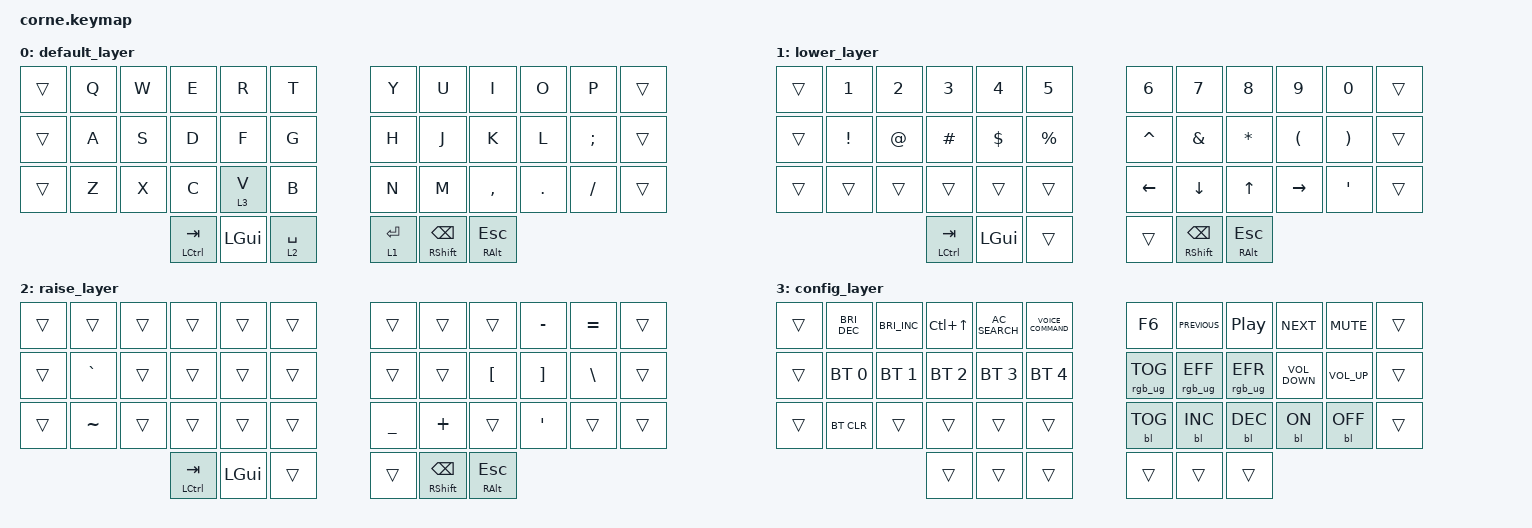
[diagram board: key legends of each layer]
/*
 * Copyright (c) 2020 The ZMK Contributors
 *
 * SPDX-License-Identifier: MIT
 */

#include <behaviors.dtsi>
#include <dt-bindings/zmk/bt.h>
#include <dt-bindings/zmk/keys.h>
#include <dt-bindings/zmk/rgb.h>

/ {
    combos {
        compatible = "zmk,combos";

        combo_capslock {
            timeout-ms = <50>;

            // keys = <ZMK_KEY_LCTRL ZMK_KEY_LALT ZMK_KEY_C>;
            // action = <ZMK_MOD_LCTL ZMK_MOD_LALT ZMK_MOD_C>;
            // key-positions = <1 2>; // Q and W cuz index 0 is empty

            key-positions = <2 9>; // W and O
            bindings = <&kp CAPSLOCK>;
        };

        config_layer_combo {
            timeout-ms = <50>;
            key-positions = <36 37 38>; // S and J
            bindings = <&mo 3>; // momentary activation of layer
            //bindings = <&tog 3>; // layer "id", permanent activation
        };
    };

    keymap {
        compatible = "zmk,keymap";

        default_layer {
            // -----------------------------------------------------------------------------------------
            // |     |  Q  |  W  |  E  |  R  |  T  |        |  Y  |  U  |  I  |  O  |  P  |      |
            // |     |  A  |  S  |  D  |  F  |  G  |        |  H  |  J  |  K  |  L  |  ;: |      |
            // |     |  Z  |  X  |  C  |  V  |  B  |        |  N  |  M  |  ,< |  .> |  /? |      |
            //       | LCTRL/TAB | GUI | LWR/SPC |          | RSE/ENT | RSHFT/BSPC | RALT/ESC |
            //                  (command)                                            (option)

            bindings = <
&trans  &kp Q  &kp W  &kp E          &kp R     &kp T          &kp Y      &kp U           &kp I         &kp O    &kp P     &trans
&trans  &kp A  &kp S  &kp D          &kp F     &kp G          &kp H      &kp J           &kp K         &kp L    &kp SEMI  &trans
&trans  &kp Z  &kp X  &kp C          &lt 3 V   &kp B          &kp N      &kp M           &kp COMMA     &kp DOT  &kp FSLH  &trans
                      &mt LCTRL TAB  &kp LGUI  &lt 2 SPACE    &lt 1 RET  &mt RSHFT BSPC  &mt RALT ESC
            >;
        };

        lower_layer {
            // -----------------------------------------------------------------------------------------
            // |     |  1  |  2  |  3  |  4  |  5  |        |  6  |  7  |  8  |  9  |  0  |      |
            // |     |  !  |  @  |  #  |  $  |  %  |        |  ^  |  &  |  *  |  (  |  )  |      |
            // |     |     |     |     |     |     |        |     |     |     |     | ' " |      |
            //       | LCTRL/TAB | GUI | LWR/SPC |                 | RSE/ENT | RSHFT/BSPC | RALT/ESC |
            //                  (command)                                            (option)

            bindings = <
&trans  &kp N1    &kp N2  &kp N3         &kp N4    &kp N5       &kp N6     &kp N7          &kp N8        &kp N9     &kp N0    &trans
&trans  &kp EXCL  &kp AT  &kp HASH       &kp DLLR  &kp PRCNT    &kp CARET  &kp AMPS        &kp ASTRK     &kp LPAR   &kp RPAR  &trans
&trans  &trans    &trans  &trans         &trans    &trans       &kp LEFT   &kp DOWN        &kp UP        &kp RIGHT  &kp SQT   &trans
                          &mt LCTRL TAB  &kp LGUI  &trans       &trans     &mt RSHFT BSPC  &mt RALT ESC
            >;
        };

        raise_layer {
            // -----------------------------------------------------------------------------------------
            // |     |     |     |     |     |     |        |     |     |     |  -_ |  =+ |      |
            // |     |  `  |     |     |     |     |        |     |     | [{  |  }] |  \| |      |
            // |     |  ~  |     |     |     |     |        |  _  |  +  |     | ' " |     |      |
            //       | LCTRL/TAB | GUI | LWR/SPC |          | RSE/ENT | RSHFT/BSPC | RALT/ESC |
            //                  (command)                                            (option)

            bindings = <
&trans  &trans     &trans  &trans         &trans    &trans    &trans     &trans          &trans        &kp MINUS  &kp EQUAL  &trans
&trans  &kp GRAVE  &trans  &trans         &trans    &trans    &trans     &trans          &kp LBKT      &kp RBKT   &kp BSLH   &trans
&trans  &kp TILDE  &trans  &trans         &trans    &trans    &kp UNDER  &kp PLUS        &trans        &kp SQT    &trans     &trans
                           &mt LCTRL TAB  &kp LGUI  &trans    &trans     &mt RSHFT BSPC  &mt RALT ESC
            >;
        };

       config_layer {
            // -----------------------------------------------------------------------------------------
            // | F6 | C_PREV | C_PLAY | C_NEXT | C_MUTE |      |
            // | BT0 | BT1 | BT2 | BT3 | BT4 | RGB_TOG | RGB_EFF | RGB_EFR | VOL_DN | VOL_UP |      |
            // | CLR | trans | trans | trans | trans | BL_TOG | BL_INC | BL_DEC | BL_ON | BL_OFF |      |
            // -----------------------------------------------------------------------------------------

            bindings = <
// Top Row: Left Hand (T) & Right Hand (Y)
&trans  &kp C_BRIGHTNESS_DEC  &kp C_BRIGHTNESS_INC  &kp LC(UP)    &kp C_AC_SEARCH  &kp C_VOICE_COMMAND    &kp F6           &kp C_PREVIOUS   &kp C_PLAY_PAUSE  &kp C_NEXT         &kp C_MUTE       &trans
// Home Row: Left Hand (G) & Right Hand (H)
&trans  &bt BT_SEL 0          &bt BT_SEL 1          &bt BT_SEL 2  &bt BT_SEL 3      &bt BT_SEL 4           &rgb_ug RGB_TOG  &rgb_ug RGB_EFF  &rgb_ug RGB_EFR   &kp C_VOLUME_DOWN  &kp C_VOLUME_UP  &trans
// Bottom Row: Left Hand (B) & Right Hand (N) - **PER-KEY BACKLIGHT CONTROLS ADDED**
&trans  &bt BT_CLR            &trans                &trans        &trans           &trans                 &bl BL_TOG       &bl BL_INC       &bl BL_DEC        &bl BL_ON          &bl BL_OFF       &trans
// Thumb Keys
                                                    &trans        &trans           &trans                 &trans           &trans           &trans
            >;
        };
    };
};
